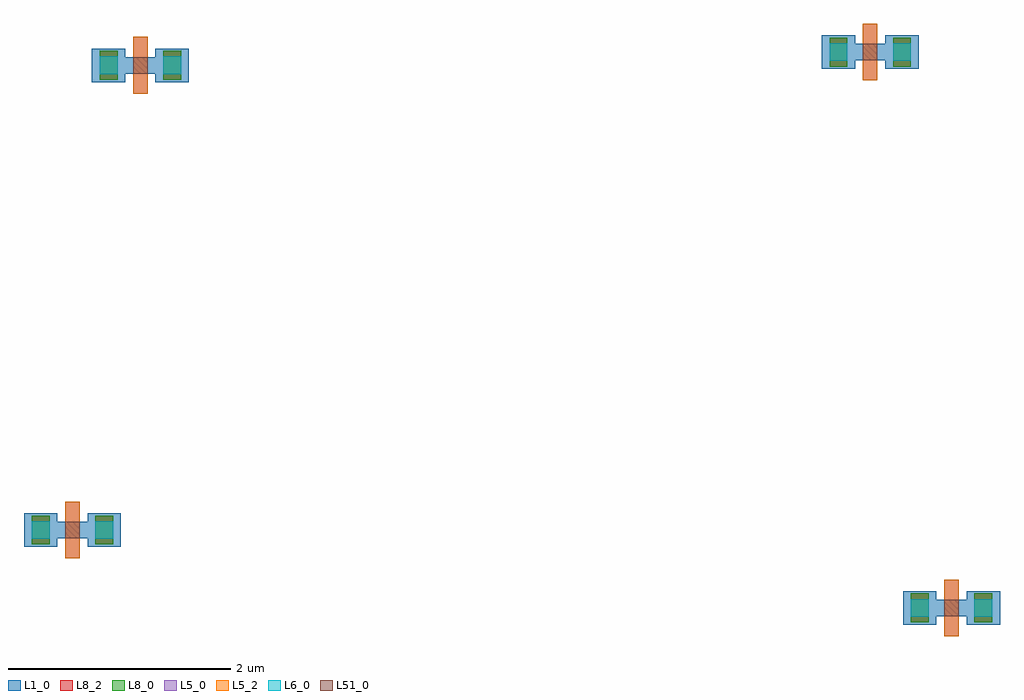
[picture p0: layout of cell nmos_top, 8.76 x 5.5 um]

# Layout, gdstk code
import gdstk
lib = gdstk.Library(unit=1e-6, precision=1e-09)
def R(c, l, rs):  # rectangles x0, y0, x1, y1
    for r in rs: c.add(gdstk.rectangle(r[:2], r[2:], *l))
L1_0 = (1, 0)
L5_0 = (5, 0)
L5_2 = (5, 2)
L6_0 = (6, 0)
L8_0 = (8, 0)
L8_2 = (8, 2)
L51_0 = (51, 0)

nmos_cell = lib.new_cell('nmos_cell')
R(nmos_cell, L1_0, [(0.63,1.08,0.93,1.38), (1.2,1.08,1.5,1.38), (0.63,1.155,1.5,1.305)])
R(nmos_cell, L5_0, [(1,0.975,1.13,1.485)])
R(nmos_cell, L5_2, [(1,0.975,1.13,1.485)])
R(nmos_cell, L6_0, [(0.7,1.15,0.86,1.31), (1.27,1.15,1.43,1.31)])
R(nmos_cell, L8_0, [(0.7,1.1,0.86,1.36), (1.27,1.1,1.43,1.36)])
R(nmos_cell, L8_2, [(0.7,1.1,0.86,1.36), (1.27,1.1,1.43,1.36)])
R(nmos_cell, L51_0, [(1,1.155,1.13,1.305)])
nmos_cell.add(gdstk.Label('nmos', (1.065,1.23), layer=63, texttype=0))
nmos_cell.add(gdstk.Label('sg13_lv_nmos', (1.065,1.23), layer=51, texttype=0))

nmos_top = lib.new_cell('nmos_top')
nmos_top.add(gdstk.Reference(nmos_cell, (-4.19,-3.33)))
nmos_top.add(gdstk.Reference(nmos_cell, (3.7,-4.03)))
nmos_top.add(gdstk.Reference(nmos_cell, (2.97,0.96)))
nmos_top.add(gdstk.Reference(nmos_cell, (-3.58,0.84)))

lib.write_gds('nmos_top.gds')
